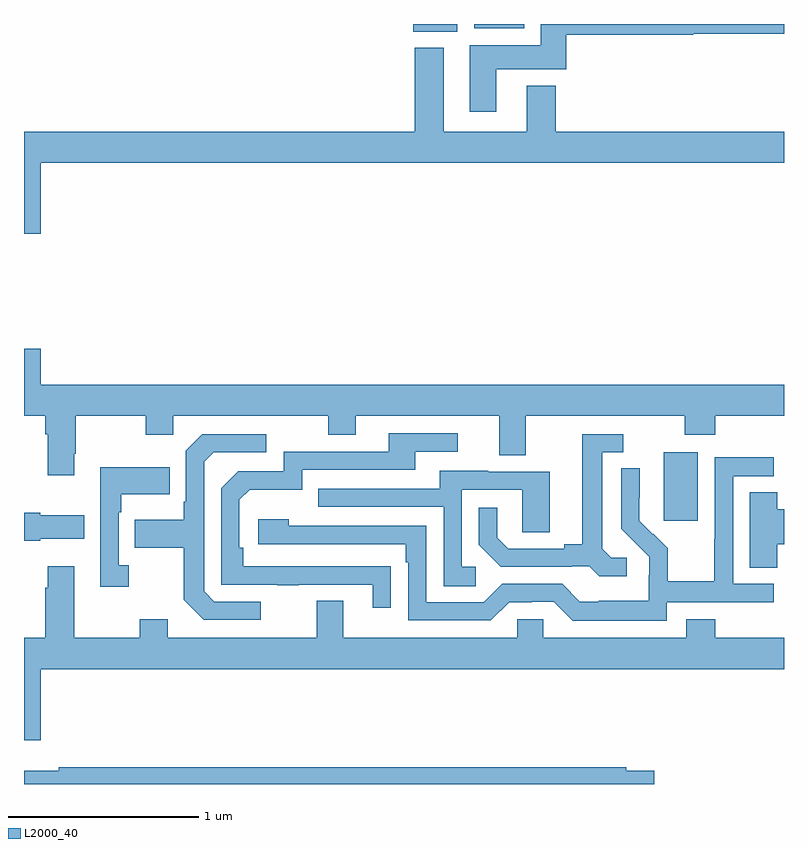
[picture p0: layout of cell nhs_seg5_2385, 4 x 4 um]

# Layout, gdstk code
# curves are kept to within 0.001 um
import gdstk
lib = gdstk.Library(unit=1e-6, precision=1e-09)
def R(c, l, rs):  # rectangles x0, y0, x1, y1
    for r in rs: c.add(gdstk.rectangle(r[:2], r[2:], *l))
def P(c, l, *ps):  # polygons
    for p in ps: c.add(gdstk.Polygon(p, *l))
L2000_40 = (2000, 40)

nhs_seg5_2385 = lib.new_cell('nhs_seg5_2385')
R(nhs_seg5_2385, L2000_40, [(252.368,880.185,252.547,880.546), (251.048,882.758,251.281,882.799), (251.369,882.776,251.632,882.799)])
P(nhs_seg5_2385, L2000_40, [(251.485,882.56),(251.855,882.56),(251.855,882.743),(252.522,882.743),(252.522,882.748),(253,882.748),(253,882.799),(251.72,882.799),(251.72,882.688),(251.345,882.688),(251.345,882.336),(251.485,882.336)],
  [(249.088,882.068),(253,882.068),(253,882.232),(251.798,882.232),(251.798,882.475),(251.645,882.475),(251.645,882.232),(251.209,882.232),(251.209,882.673),(251.057,882.673),(251.057,882.232),(249,882.232),(249,881.694),(249.088,881.694)],
  [(249.265,880.537),(249.273,880.537),(249.273,880.736),(249.64,880.736),(249.64,880.637),(249.786,880.637),(249.786,880.736),(250.6,880.736),(250.6,880.637),(250.747,880.637),(250.747,880.736),(251.501,880.736),(251.501,880.528),(251.641,880.528),(251.641,880.736),(252.478,880.736),(252.478,880.637),(252.638,880.637),(252.638,880.736),(253,880.736),(253,880.9),(249.088,880.9),(249.088,881.089),(249,881.089),(249,880.736),(249.113,880.736),(249.113,880.64),(249.125,880.64),(249.125,880.425),(249.265,880.425)],
  [(250.931,879.944),(250.154,879.945),(250.154,880.042),(250.134,880.042),(250.134,880.296),(250.187,880.349),(250.464,880.349),(250.464,880.452),(251.059,880.452),(251.059,880.548),(251.284,880.548),(251.284,880.644),(250.919,880.644),(250.919,880.548),(250.368,880.548),(250.368,880.446),(250.128,880.446),(250.038,880.356),(250.038,879.849),(250.333,879.849),(250.333,879.844),(250.445,879.844),(250.445,879.849),(250.835,879.849),(250.835,879.726),(250.931,879.726)],
  [(252.172,879.99),(252.09,879.99),(252.043,880.037),(252.043,880.545),(252.154,880.545),(252.154,880.641),(251.939,880.641),(251.939,880.061),(251.843,880.061),(251.843,880.038),(251.548,880.038),(251.491,880.095),(251.491,880.252),(251.394,880.252),(251.394,880.058),(251.51,879.942),(251.882,879.942),(251.882,879.945),(251.976,879.945),(252.028,879.893),(252.172,879.893)],
  [(250.246,879.759),(250.002,879.759),(249.948,879.813),(249.948,880.494),(249.999,880.545),(250.276,880.545),(250.276,880.641),(249.939,880.641),(249.852,880.554),(249.852,880.285),(249.84,880.285),(249.84,880.189),(249.583,880.189),(249.583,880.042),(249.84,880.042),(249.84,879.769),(249.945,879.663),(250.246,879.663)],
  [(252.384,879.756),(252.946,879.756),(252.946,879.852),(252.732,879.852),(252.732,880.419),(252.946,880.419),(252.946,880.518),(252.636,880.518),(252.636,880.088),(252.634,880.088),(252.634,879.865),(252.389,879.865),(252.389,880.039),(252.312,880.116),(252.309,880.113),(252.239,880.184),(252.24,880.46),(252.144,880.46),(252.144,880.142),(252.29,879.994),(252.29,879.897),(252.288,879.897),(252.288,879.763),(252.025,879.763),(252.025,879.759),(251.925,879.759),(251.832,879.852),(251.517,879.852),(251.421,879.756),(251.118,879.756),(251.118,880.158),(250.394,880.158),(250.394,880.192),(250.233,880.192),(250.233,880.062),(251.009,880.062),(251.009,879.965),(251.022,879.965),(251.022,879.66),(251.457,879.66),(251.553,879.756),(251.672,879.756),(251.672,879.759),(251.787,879.759),(251.887,879.659),(252.384,879.659)],
  [(249.55,879.95),(249.498,879.95),(249.498,880.229),(249.511,880.229),(249.511,880.325),(249.767,880.325),(249.767,880.465),(249.402,880.465),(249.402,879.837),(249.55,879.837)],
  [(251.377,879.942),(251.304,879.942),(251.304,880.347),(251.622,880.347),(251.622,880.123),(251.767,880.123),(251.767,880.443),(251.443,880.443),(251.443,880.447),(251.189,880.447),(251.189,880.353),(250.549,880.353),(250.549,880.257),(251.208,880.257),(251.208,879.841),(251.377,879.841)],
  [(252.965,880.061),(253,880.061),(253,880.244),(252.965,880.244),(252.965,880.334),(252.821,880.334),(252.821,879.937),(252.965,879.937)],
  [(249.085,880.091),(249.316,880.091),(249.316,880.213),(249.085,880.213),(249.085,880.226),(249,880.226),(249,880.079),(249.085,880.079)],
  [(249.088,879.404),(253,879.404),(253,879.568),(252.638,879.568),(252.638,879.667),(252.485,879.667),(252.485,879.568),(251.733,879.568),(251.733,879.666),(251.595,879.666),(251.595,879.568),(250.681,879.568),(250.681,879.763),(250.541,879.763),(250.541,879.568),(249.757,879.568),(249.757,879.667),(249.61,879.667),(249.61,879.568),(249.265,879.568),(249.265,879.946),(249.125,879.946),(249.125,879.833),(249.113,879.833),(249.113,879.568),(249,879.568),(249,879.03),(249.088,879.03)],
  [(252.317,878.868),(252.17,878.868),(252.17,878.888),(249.184,878.888),(249.184,878.869),(249,878.869),(249,878.799),(252.317,878.799)])

lib.write_gds('nhs_seg5_2385.gds')
